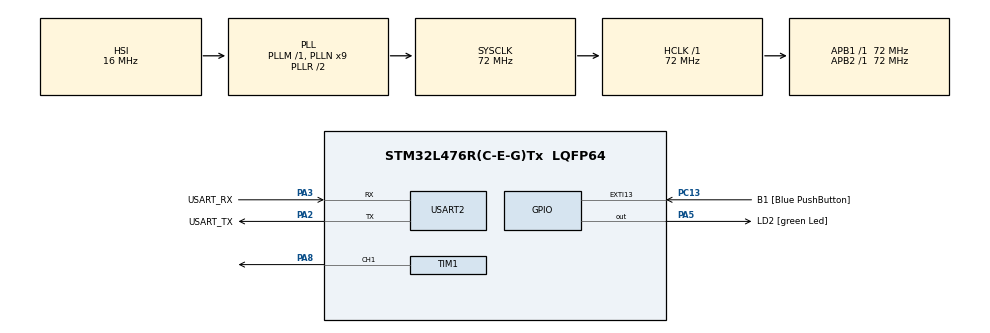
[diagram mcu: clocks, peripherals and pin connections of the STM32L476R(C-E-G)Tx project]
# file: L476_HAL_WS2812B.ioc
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Dma.Request0=TIM1_CH1
Dma.TIM1_CH1.0.Direction=DMA_MEMORY_TO_PERIPH
Dma.TIM1_CH1.0.Instance=DMA1_Channel2
Dma.TIM1_CH1.0.MemDataAlignment=DMA_MDATAALIGN_HALFWORD
Dma.TIM1_CH1.0.MemInc=DMA_MINC_ENABLE
Dma.TIM1_CH1.0.Mode=DMA_NORMAL
Dma.TIM1_CH1.0.PeriphDataAlignment=DMA_PDATAALIGN_HALFWORD
Dma.TIM1_CH1.0.PeriphInc=DMA_PINC_DISABLE
Dma.TIM1_CH1.0.Priority=DMA_PRIORITY_LOW
Mcu.Family=STM32L4
Mcu.Name=STM32L476R(C-E-G)Tx
Mcu.Package=LQFP64
NVIC.DMA1_Channel2_IRQn=true\:0\:0\:false\:false\:true\:false\:true\:true
NVIC.PriorityGroup=NVIC_PRIORITYGROUP_4
PA13\ (JTMS-SWDIO).GPIO_Label=TMS
PA13\ (JTMS-SWDIO).Mode=Serial_Wire
PA13\ (JTMS-SWDIO).Signal=SYS_JTMS-SWDIO
PA14\ (JTCK-SWCLK).GPIO_Label=TCK
PA14\ (JTCK-SWCLK).Mode=Serial_Wire
PA14\ (JTCK-SWCLK).Signal=SYS_JTCK-SWCLK
PA2.GPIO_Label=USART_TX
PA2.GPIO_Mode=GPIO_MODE_AF_PP
PA2.GPIO_PuPd=GPIO_NOPULL
PA2.GPIO_Speed=GPIO_SPEED_FREQ_VERY_HIGH
PA2.Mode=Asynchronous
PA2.Signal=USART2_TX
PA3.GPIO_Label=USART_RX
PA3.GPIO_Mode=GPIO_MODE_AF_PP
PA3.GPIO_PuPd=GPIO_NOPULL
PA3.GPIO_Speed=GPIO_SPEED_FREQ_VERY_HIGH
PA3.Mode=Asynchronous
PA3.Signal=USART2_RX
PA5.GPIO_Label=LD2 [green Led]
PA5.GPIO_ModeDefaultOutputPP=GPIO_MODE_OUTPUT_PP
PA5.GPIO_PuPd=GPIO_NOPULL
PA5.GPIO_Speed=GPIO_SPEED_FREQ_LOW
PA5.Signal=GPIO_Output
PA8.Signal=S_TIM1_CH1
PB3\ (JTDO-TRACESWO).GPIO_Label=SWO
PB3\ (JTDO-TRACESWO).Signal=SYS_JTDO-SWO
PC13.GPIO_Label=B1 [Blue PushButton]
PC13.GPIO_ModeDefaultEXTI=GPIO_MODE_IT_FALLING
PC13.GPIO_PuPd=GPIO_NOPULL
PC13.Signal=GPXTI13
PC14-OSC32_IN\ (PC14).Mode=LSE-External-Oscillator
PC14-OSC32_IN\ (PC14).Signal=RCC_OSC32_IN
PC15-OSC32_OUT\ (PC15).Mode=LSE-External-Oscillator
PC15-OSC32_OUT\ (PC15).Signal=RCC_OSC32_OUT
PH0-OSC_IN\ (PH0).Signal=RCC_OSC_IN
PH1-OSC_OUT\ (PH1).Signal=RCC_OSC_OUT
ProjectManager.HeapSize=0x200
ProjectManager.StackSize=0x400
ProjectManager.TargetToolchain=STM32CubeIDE
RCC.ADCFreq_Value=64000000
RCC.AHBFreq_Value=72000000
RCC.APB1Freq_Value=72000000
RCC.APB1TimFreq_Value=72000000
RCC.APB2Freq_Value=72000000
RCC.APB2TimFreq_Value=72000000
RCC.CortexFreq_Value=72000000
RCC.HCLKFreq_Value=72000000
RCC.HSE_VALUE=8000000
RCC.HSI_VALUE=16000000
RCC.MSI_VALUE=4000000
RCC.PLLN=9
RCC.PLLSourceVirtual=RCC_PLLSOURCE_HSI
RCC.PREFETCH_ENABLE=1
RCC.SYSCLKFreq_VALUE=72000000
RCC.SYSCLKSource=RCC_SYSCLKSOURCE_PLLCLK
RCC.USBFreq_Value=64000000
RCC.VCOOutputFreq_Value=144000000
SH.S_TIM1_CH1.0=TIM1_CH1,PWM Generation1 CH1
TIM1.Channel-PWM\ Generation1\ CH1=TIM_CHANNEL_1
TIM1.Period=90-1
USART2.VirtualMode-Asynchronous=VM_ASYNC
VP_TIM1_VS_ClockSourceINT.Mode=Internal
board=NUCLEO-L476RG

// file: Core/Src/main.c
/* USER CODE BEGIN Header */
/**
 ******************************************************************************
 * @file           : main.c
 * @brief          : Main program body
 ******************************************************************************
 * @attention
 *
 * Copyright (c) 2023 STMicroelectronics.
 * All rights reserved.
 *
 * This software is licensed under terms that can be found in the LICENSE file
 * in the root directory of this software component.
 * If no LICENSE file comes with this software, it is provided AS-IS.
 *
 ******************************************************************************
 */
/* USER CODE END Header */
#include "main.h"
#include "math.h"
#include "stdint.h"

TIM_HandleTypeDef htim1;
DMA_HandleTypeDef hdma_tim1_ch1;

UART_HandleTypeDef huart2;

void SystemClock_Config(void);
static void MX_GPIO_Init(void);
static void MX_DMA_Init(void);
static void MX_USART2_UART_Init(void);
static void MX_TIM1_Init(void);

/* USER CODE BEGIN 0 */

// #define TOTAL_LEDS (8 + 16 + 24)
#define TOTAL_LEDS 12
// #define TOTAL_LEDS (16)
#define BRIGHTNESS_CTRL_FLAG 1

uint8_t LED_Data[TOTAL_LEDS][4]; // This stores the color data values of the LEDs
uint8_t LED_Mod[TOTAL_LEDS][4];  // This stores the brightness adjusted values of the LEDs

uint8_t bDataIsSent = 0;
void HAL_TIM_PWM_PulseFinishedCallback(TIM_HandleTypeDef *htim)
{
  /**
   * The DMA needs to be stopped, otherwise the signal
   * is repeated over and over again.
   * The problem remains, nonetheless: It takes the
   * ISR a couple of cycles to stop the TIM PWM
   * Therefore the TIM PWM continues to send out numbers
   */
  HAL_TIM_PWM_Stop_DMA(&htim1, TIM_CHANNEL_1);

  bDataIsSent = 1;
}

void Set_LED(int ledIndex, int red, int green, int blue)
{
  LED_Data[ledIndex][0] = ledIndex;
  LED_Data[ledIndex][1] = green;
  LED_Data[ledIndex][2] = red;
  LED_Data[ledIndex][3] = blue;
}

#define PI 3.141592

void Set_Brightness(int brightness) // 0-45
{
#if BRIGHTNESS_CTRL_FLAG

  if (brightness > 45)
  {
    brightness = 45;
  }

  for (int i = 0; i < TOTAL_LEDS; i++)
  {
    /**
     * First column remains unchanged - this is the LED_Index
     */
    LED_Mod[i][0] = LED_Data[i][0];

    for (int j = 0; j < 4; j++)
    {
      /*
       * Adjust the Led Brightness with a non linear function
       * Source: https://youtu.be/-3VKkTSAytM @ minute 16
       */
      float angle = 90 - brightness; // in degrees
      angle = (angle * PI) / 180;    // conversion to rad
      LED_Mod[i][j] = (LED_Data[i][j] / (tan(angle)));
    }
  }

#endif
}

/**
 * This function gets the RGB values
 * and passes them the to the DMA
 */

#ifdef SIMPLE_SEND
#define PWMDATASIZE 24
static uint16_t pwmData[PWMDATASIZE];
void send(uint8_t red, uint8_t green, uint8_t blue)
{
  /**
   * The 8bit data, that is present in the input values
   * is bit shifted into a 32 bit array
   */
  uint32_t data = ((green << 16) |
                   (red << 8) |
                   (blue << 0));

  for (int i = 23; i >= 0; i--)
  {
    /**
     * Check the data into the PWM Array
     * Start from the MSB (most significant bit)
     *
     * 60 corresponds to a logical one
     * 30 corresponds to a logical zero
     */
    if (data & (1 << i))
    {
      /**
       * This operation goes through the input color data
       * and for each set bit 60 is placed in the array
       * and for each reset bit 30 is placed in the array
       */
      pwmData[i] = 60;
    }
    else
    {
      pwmData[i] = 30;
    }
  }
  HAL_TIM_PWM_Start_DMA(&htim1, TIM_CHANNEL_1, (uint32_t *)pwmData, PWMDATASIZE);
}
#else

#define PWMDATASIZE (24 * TOTAL_LEDS) + 50
uint16_t pwmData[PWMDATASIZE];

#define WS2812_HIGH_BIT 60
#define WS2812_LOW_BIT 30
#define WS2812_OFF 0
void RgbLed_show(void)
{
  uint32_t j = 0;
  uint32_t color;

  for (int i = 0; i < TOTAL_LEDS; i++)
  {
    if (BRIGHTNESS_CTRL_FLAG == 1)
    {
      color = ((LED_Mod[i][1] << 16) | // green
               (LED_Mod[i][2] << 8) |  // red
               (LED_Mod[i][3]));       // blue
    }
    else
    {
      color = ((LED_Data[i][1] << 16) | // green
               (LED_Data[i][2] << 8) |  // red
               (LED_Data[i][3]));       // blue
    }

    for (int8_t i = 23; i >= 0; i--)
    {
      if (color & (1 << i))
      {
        pwmData[j] = WS2812_HIGH_BIT;
      }
      else
      {
        pwmData[j] = WS2812_LOW_BIT;
      }
      j++;
    }
  }

  /**
   * Insert some 0 values as a reset value to be placed in
   * between sequences
   */
  for (uint8_t i = 0; i < 50; i++)
  {
    pwmData[j] = WS2812_OFF;
    j++;
  }

  HAL_TIM_PWM_Start_DMA(&htim1, TIM_CHANNEL_1, (uint32_t *)pwmData, j);

  while (!bDataIsSent)
  {
    /* Do nothing an wait forever */
  }
  bDataIsSent = 0;
}

#endif

/* USER CODE END 0 */

int main(void)
{

  /* MCU Configuration--------------------------------------------------------*/

  /* Reset of all peripherals, Initializes the Flash interface and the Systick. */
  HAL_Init();

  /* Configure the system clock */
  SystemClock_Config();

  /* Initialize all configured peripherals */
  MX_GPIO_Init();
  MX_DMA_Init();
  MX_USART2_UART_Init();
  MX_TIM1_Init();
  /* USER CODE BEGIN 2 */
#ifdef SIMPLE_SEND
  send(1, 255, 24);
#else
  // Set_LED(0, 50, 0, 0);
  // Set_LED(1, 255, 0, 0);
  // Set_LED(2, 50, 0, 0);
  // Set_Brightness(30);
  // RgbLed_show();
#endif

  /* USER CODE END 2 */

  /* Infinite loop */
  /* USER CODE BEGIN WHILE */
  uint8_t led_index = 0;

  while (1)
  {
    /* USER CODE END WHILE */

    /* USER CODE BEGIN 3 */

    if (led_index % TOTAL_LEDS == 0)
    {
      led_index = 0;
    }

    uint8_t effect[TOTAL_LEDS] = {10, 70, 255, 70, 10};
    // uint8_t num = 255;
    // uint8_t effect[TOTAL_LEDS] = {num, num,
    //                               num, num,
    //                               num, num,
    //                               num, num};
    uint8_t effect_size = sizeof(effect);
    for (uint8_t i = 0; i <= TOTAL_LEDS; i++)
    {
      Set_LED(i, 0, 0, 0);
    }
    // Set_LED(led_index, 100, 0, 0);

    for (uint8_t i = 0; i < effect_size; i++)
    {
      uint8_t tmp = (led_index + i) % TOTAL_LEDS;
      Set_LED(tmp, 0, 0, effect[i]);
    }
    if (BRIGHTNESS_CTRL_FLAG == 1)
    {
      Set_Brightness(2);
    }
    HAL_Delay(40);
    RgbLed_show();
    led_index++;
    // HAL_Delay(20);
  }
  /* USER CODE END 3 */
}

void SystemClock_Config(void)
{
  RCC_OscInitTypeDef RCC_OscInitStruct = {0};
  RCC_ClkInitTypeDef RCC_ClkInitStruct = {0};

  /** Configure the main internal regulator output voltage
   */
  if (HAL_PWREx_ControlVoltageScaling(PWR_REGULATOR_VOLTAGE_SCALE1) != HAL_OK)
  {
    Error_Handler();
  }

  /** Initializes the RCC Oscillators according to the specified parameters
   * in the RCC_OscInitTypeDef structure.
   */
  RCC_OscInitStruct.OscillatorType = RCC_OSCILLATORTYPE_HSI;
  RCC_OscInitStruct.HSIState = RCC_HSI_ON;
  RCC_OscInitStruct.HSICalibrationValue = RCC_HSICALIBRATION_DEFAULT;
  RCC_OscInitStruct.PLL.PLLState = RCC_PLL_ON;
  RCC_OscInitStruct.PLL.PLLSource = RCC_PLLSOURCE_HSI;
  RCC_OscInitStruct.PLL.PLLM = 1;
  RCC_OscInitStruct.PLL.PLLN = 9;
  RCC_OscInitStruct.PLL.PLLP = RCC_PLLP_DIV7;
  RCC_OscInitStruct.PLL.PLLQ = RCC_PLLQ_DIV2;
  RCC_OscInitStruct.PLL.PLLR = RCC_PLLR_DIV2;
  if (HAL_RCC_OscConfig(&RCC_OscInitStruct) != HAL_OK)
  {
    Error_Handler();
  }

  /** Initializes the CPU, AHB and APB buses clocks
   */
  RCC_ClkInitStruct.ClockType = RCC_CLOCKTYPE_HCLK | RCC_CLOCKTYPE_SYSCLK | RCC_CLOCKTYPE_PCLK1 | RCC_CLOCKTYPE_PCLK2;
  RCC_ClkInitStruct.SYSCLKSource = RCC_SYSCLKSOURCE_PLLCLK;
  RCC_ClkInitStruct.AHBCLKDivider = RCC_SYSCLK_DIV1;
  RCC_ClkInitStruct.APB1CLKDivider = RCC_HCLK_DIV1;
  RCC_ClkInitStruct.APB2CLKDivider = RCC_HCLK_DIV1;

  if (HAL_RCC_ClockConfig(&RCC_ClkInitStruct, FLASH_LATENCY_4) != HAL_OK)
  {
    Error_Handler();
  }
}

static void MX_TIM1_Init(void)
{

  TIM_ClockConfigTypeDef sClockSourceConfig = {0};
  TIM_MasterConfigTypeDef sMasterConfig = {0};
  TIM_OC_InitTypeDef sConfigOC = {0};
  TIM_BreakDeadTimeConfigTypeDef sBreakDeadTimeConfig = {0};

  htim1.Instance = TIM1;
  htim1.Init.Prescaler = 0;
  htim1.Init.CounterMode = TIM_COUNTERMODE_UP;
  htim1.Init.Period = 90 - 1;
  htim1.Init.ClockDivision = TIM_CLOCKDIVISION_DIV1;
  htim1.Init.RepetitionCounter = 0;
  htim1.Init.AutoReloadPreload = TIM_AUTORELOAD_PRELOAD_DISABLE;
  if (HAL_TIM_Base_Init(&htim1) != HAL_OK)
  {
    Error_Handler();
  }
  sClockSourceConfig.ClockSource = TIM_CLOCKSOURCE_INTERNAL;
  if (HAL_TIM_ConfigClockSource(&htim1, &sClockSourceConfig) != HAL_OK)
  {
    Error_Handler();
  }
  if (HAL_TIM_PWM_Init(&htim1) != HAL_OK)
  {
    Error_Handler();
  }
  sMasterConfig.MasterOutputTrigger = TIM_TRGO_RESET;
  sMasterConfig.MasterOutputTrigger2 = TIM_TRGO2_RESET;
  sMasterConfig.MasterSlaveMode = TIM_MASTERSLAVEMODE_DISABLE;
  if (HAL_TIMEx_MasterConfigSynchronization(&htim1, &sMasterConfig) != HAL_OK)
  {
    Error_Handler();
  }
  sConfigOC.OCMode = TIM_OCMODE_PWM1;
  sConfigOC.Pulse = 0;
  sConfigOC.OCPolarity = TIM_OCPOLARITY_HIGH;
  sConfigOC.OCNPolarity = TIM_OCNPOLARITY_HIGH;
  sConfigOC.OCFastMode = TIM_OCFAST_DISABLE;
  sConfigOC.OCIdleState = TIM_OCIDLESTATE_RESET;
  sConfigOC.OCNIdleState = TIM_OCNIDLESTATE_RESET;
  if (HAL_TIM_PWM_ConfigChannel(&htim1, &sConfigOC, TIM_CHANNEL_1) != HAL_OK)
  {
    Error_Handler();
  }
  sBreakDeadTimeConfig.OffStateRunMode = TIM_OSSR_DISABLE;
  sBreakDeadTimeConfig.OffStateIDLEMode = TIM_OSSI_DISABLE;
  sBreakDeadTimeConfig.LockLevel = TIM_LOCKLEVEL_OFF;
  sBreakDeadTimeConfig.DeadTime = 0;
  sBreakDeadTimeConfig.BreakState = TIM_BREAK_DISABLE;
  sBreakDeadTimeConfig.BreakPolarity = TIM_BREAKPOLARITY_HIGH;
  sBreakDeadTimeConfig.BreakFilter = 0;
  sBreakDeadTimeConfig.Break2State = TIM_BREAK2_DISABLE;
  sBreakDeadTimeConfig.Break2Polarity = TIM_BREAK2POLARITY_HIGH;
  sBreakDeadTimeConfig.Break2Filter = 0;
  sBreakDeadTimeConfig.AutomaticOutput = TIM_AUTOMATICOUTPUT_DISABLE;
  if (HAL_TIMEx_ConfigBreakDeadTime(&htim1, &sBreakDeadTimeConfig) != HAL_OK)
  {
    Error_Handler();
  }
  HAL_TIM_MspPostInit(&htim1);
}

static void MX_USART2_UART_Init(void)
{

  huart2.Instance = USART2;
  huart2.Init.BaudRate = 115200;
  huart2.Init.WordLength = UART_WORDLENGTH_8B;
  huart2.Init.StopBits = UART_STOPBITS_1;
  huart2.Init.Parity = UART_PARITY_NONE;
  huart2.Init.Mode = UART_MODE_TX_RX;
  huart2.Init.HwFlowCtl = UART_HWCONTROL_NONE;
  huart2.Init.OverSampling = UART_OVERSAMPLING_16;
  huart2.Init.OneBitSampling = UART_ONE_BIT_SAMPLE_DISABLE;
  huart2.AdvancedInit.AdvFeatureInit = UART_ADVFEATURE_NO_INIT;
  if (HAL_UART_Init(&huart2) != HAL_OK)
  {
    Error_Handler();
  }
}

static void MX_DMA_Init(void)
{

  /* DMA controller clock enable */
  __HAL_RCC_DMA1_CLK_ENABLE();

  /* DMA interrupt init */
  /* DMA1_Channel2_IRQn interrupt configuration */
  HAL_NVIC_SetPriority(DMA1_Channel2_IRQn, 0, 0);
  HAL_NVIC_EnableIRQ(DMA1_Channel2_IRQn);
}

static void MX_GPIO_Init(void)
{
  GPIO_InitTypeDef GPIO_InitStruct = {0};

  /* GPIO Ports Clock Enable */
  __HAL_RCC_GPIOC_CLK_ENABLE();
  __HAL_RCC_GPIOH_CLK_ENABLE();
  __HAL_RCC_GPIOA_CLK_ENABLE();
  __HAL_RCC_GPIOB_CLK_ENABLE();

  /*Configure GPIO pin Output Level */
  HAL_GPIO_WritePin(LD2_GPIO_Port, LD2_Pin, GPIO_PIN_RESET);

  /*Configure GPIO pin : B1_Pin */
  GPIO_InitStruct.Pin = B1_Pin;
  GPIO_InitStruct.Mode = GPIO_MODE_IT_FALLING;
  GPIO_InitStruct.Pull = GPIO_NOPULL;
  HAL_GPIO_Init(B1_GPIO_Port, &GPIO_InitStruct);

  /*Configure GPIO pin : LD2_Pin */
  GPIO_InitStruct.Pin = LD2_Pin;
  GPIO_InitStruct.Mode = GPIO_MODE_OUTPUT_PP;
  GPIO_InitStruct.Pull = GPIO_NOPULL;
  GPIO_InitStruct.Speed = GPIO_SPEED_FREQ_LOW;
  HAL_GPIO_Init(LD2_GPIO_Port, &GPIO_InitStruct);
}

void Error_Handler(void)
{
  __disable_irq();
  while (1)
  {
  }
}
